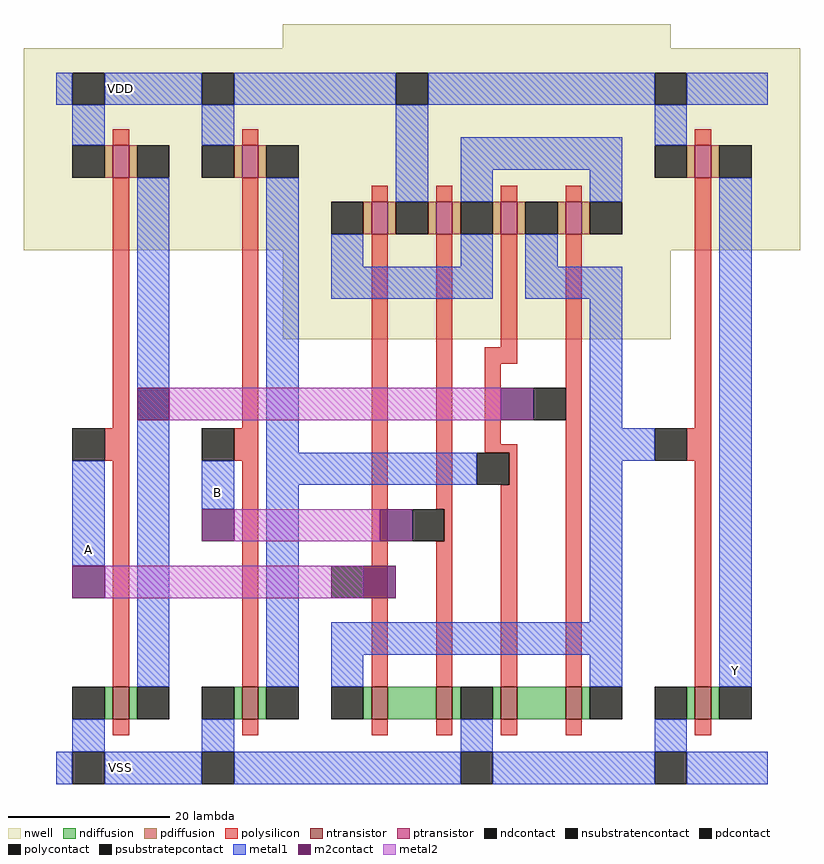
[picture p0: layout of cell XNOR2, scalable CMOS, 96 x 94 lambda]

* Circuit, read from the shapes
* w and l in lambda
.subckt XNOR2 A B VDD VSS Y
M1 XOR2_0/INV_1/Y A VSS VSS nfet w=4 l=2
M2 XOR2_0/INV_0/Y B VSS VSS nfet w=4 l=2
M3 n1 A INV_0/A VSS nfet w=4 l=2
M4 VSS B n1 VSS nfet w=4 l=2
M5 n2 XOR2_0/INV_0/Y VSS VSS nfet w=4 l=2
M6 INV_0/A XOR2_0/INV_1/Y n2 VSS nfet w=4 l=2
M7 Y INV_0/A VSS VSS nfet w=4 l=2
M8 XOR2_0/INV_1/Y A VDD VDD pfet w=4 l=2
M9 XOR2_0/INV_0/Y B VDD VDD pfet w=4 l=2
M10 VDD A n3 VDD pfet w=4 l=2
M11 n3 B VDD VDD pfet w=4 l=2
M12 INV_0/A XOR2_0/INV_0/Y n3 VDD pfet w=4 l=2
M13 n3 XOR2_0/INV_1/Y INV_0/A VDD pfet w=4 l=2
M14 Y INV_0/A VDD VDD pfet w=4 l=2
.ends

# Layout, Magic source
magic
tech scmos
<< nwell >>
rect 10 84 14 88
<< metal1 >>
rect 10 84 14 88
rect 74 40 78 44
rect 22 34 26 38
rect 6 27 10 31
rect 86 12 90 16
rect 10 0 14 4
use INV  INV_0
transform 1 0 76 0 1 0
box -4 0 20 91
use XOR2  XOR2_0
transform 1 0 36 0 1 0
box -36 0 44 94
<< labels >>
rlabel metal1 24 36 24 36 1 B
rlabel metal1 8 29 8 29 1 A
rlabel metal1 88 14 88 14 1 Y
rlabel metal1 12 2 12 2 1 VSS
rlabel metal1 12 86 12 86 1 VDD
<< end >>

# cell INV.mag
magic
tech scmos
<< nwell >>
rect -4 66 20 91
<< ntransistor >>
rect 7 8 9 12
<< ptransistor >>
rect 7 75 9 79
<< ndiffusion >>
rect 6 8 7 12
rect 9 8 10 12
<< pdiffusion >>
rect 6 75 7 79
rect 9 75 10 79
<< ndcontact >>
rect 2 8 6 12
rect 10 8 14 12
<< pdcontact >>
rect 2 75 6 79
rect 10 75 14 79
<< psubstratepcontact >>
rect 2 0 6 4
<< nsubstratencontact >>
rect 2 84 6 88
<< polysilicon >>
rect 7 79 9 81
rect 7 44 9 75
rect 6 40 9 44
rect 7 12 9 40
rect 7 6 9 8
<< polycontact >>
rect 2 40 6 44
<< metal1 >>
rect 0 84 2 88
rect 6 84 16 88
rect 2 79 6 84
rect 10 12 14 75
rect 2 4 6 8
rect 0 0 2 4
rect 6 0 16 4
<< labels >>
rlabel metal1 1 2 1 2 2 VSS
rlabel metal1 12 17 12 17 1 Y
rlabel metal1 1 86 1 86 4 VDD
rlabel polycontact 4 42 4 42 1 A
<< end >>

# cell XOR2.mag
magic
tech scmos
<< nwell >>
rect -4 55 44 94
<< ntransistor >>
rect 7 8 9 12
rect 15 8 17 12
rect 23 8 25 12
rect 31 8 33 12
<< ptransistor >>
rect 7 68 9 72
rect 15 68 17 72
rect 23 68 25 72
rect 31 68 33 72
<< ndiffusion >>
rect 6 8 7 12
rect 9 8 15 12
rect 17 8 18 12
rect 22 8 23 12
rect 25 8 31 12
rect 33 8 34 12
<< pdiffusion >>
rect 6 68 7 72
rect 9 68 10 72
rect 14 68 15 72
rect 17 68 18 72
rect 22 68 23 72
rect 25 68 26 72
rect 30 68 31 72
rect 33 68 34 72
<< ndcontact >>
rect 2 8 6 12
rect 18 8 22 12
rect 34 8 38 12
<< pdcontact >>
rect 2 68 6 72
rect 10 68 14 72
rect 18 68 22 72
rect 26 68 30 72
rect 34 68 38 72
<< psubstratepcontact >>
rect 18 0 22 4
<< nsubstratencontact >>
rect 10 84 14 88
<< polysilicon >>
rect 7 72 9 74
rect 15 72 17 74
rect 23 72 25 74
rect 31 72 33 74
rect 7 27 9 68
rect 15 34 17 68
rect 23 54 25 68
rect 21 52 25 54
rect 21 42 23 52
rect 21 41 25 42
rect 24 37 25 41
rect 16 30 17 34
rect 6 23 9 27
rect 7 12 9 23
rect 15 12 17 30
rect 23 12 25 37
rect 31 12 33 68
rect 7 6 9 8
rect 15 6 17 8
rect 23 6 25 8
rect 31 6 33 8
<< polycontact >>
rect 27 45 31 49
rect 20 37 24 41
rect 12 30 16 34
rect 2 23 6 27
<< metal1 >>
rect 0 84 10 88
rect 14 84 40 88
rect 10 72 14 84
rect 18 76 38 80
rect 18 72 22 76
rect 34 72 38 76
rect 2 64 6 68
rect 18 64 22 68
rect 2 60 22 64
rect 26 64 30 68
rect 26 60 38 64
rect -30 27 -26 40
rect -14 34 -10 40
rect -2 37 20 41
rect 34 20 38 60
rect 2 16 38 20
rect 2 12 6 16
rect 34 12 38 16
rect 18 4 22 8
rect 0 0 18 4
rect 22 0 40 4
<< m2contact >>
rect -22 45 -18 49
rect 23 45 27 49
rect -14 30 -10 34
rect 8 30 12 34
rect -30 23 -26 27
rect 6 23 10 27
<< metal2 >>
rect -18 45 23 49
rect -10 30 8 34
rect -26 23 6 27
use INV  INV_0
transform 1 0 -16 0 1 0
box -4 0 20 91
use INV  INV_1
transform 1 0 -32 0 1 0
box -4 0 20 91
<< labels >>
rlabel psubstratepcontact 20 2 20 2 1 VSS
rlabel metal1 36 40 36 40 1 Y
rlabel metal1 12 86 12 86 1 VDD
rlabel m2contact -12 32 -12 32 1 B
rlabel m2contact -28 25 -28 25 1 A
<< end >>
